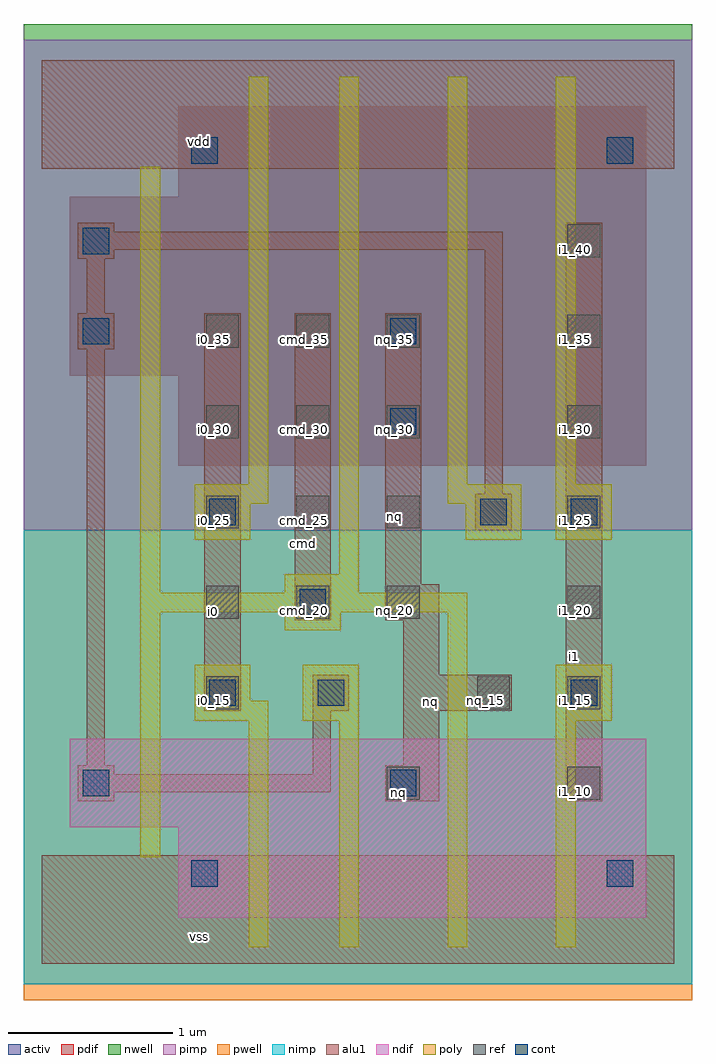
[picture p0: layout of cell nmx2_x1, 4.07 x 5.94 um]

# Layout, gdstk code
import gdstk
lib = gdstk.Library(unit=1e-6, precision=2.5e-09)
def R(c, l, rs):  # rectangles x0, y0, x1, y1
    for r in rs: c.add(gdstk.rectangle(r[:2], r[2:], *l))
def A(c, l, x, y, w, h, nx, ny, dx, dy):  # array of equal rectangles
    R(c, l, [(x+i*dx, y+j*dy, x+i*dx+w, y+j*dy+h) for i in range(nx) for j in range(ny)])
ndif = (3, 0)
pdif = (4, 0)
ref = (24, 0)
cont = (25, 0)
pwell = (41, 0)
nwell = (42, 0)
activ = (43, 0)
pimp = (44, 0)
nimp = (45, 0)
poly = (46, 0)
alu1 = (49, 0)

nmx2_x1 = lib.new_cell('nmx2_x1')
R(nmx2_x1, ndif, [(0.83,0.28,3.68,0.83), (0.83,0.28,3.68,0.83), (0.17,0.83,3.68,1.37), (0.17,0.83,3.68,1.37)])
R(nmx2_x1, pdif, [(0.83,3.03,3.68,3.58), (0.83,3.03,3.68,3.58), (0.17,3.58,3.68,4.67), (0.17,3.58,3.68,4.67), (0.83,4.67,3.68,5.22), (0.83,4.67,3.68,5.22)])
A(nmx2_x1, ref, 3.2, 1, 0.2, 0.2, 1, 7, 0, 0.55)
A(nmx2_x1, ref, 1, 2.1, 0.2, 0.2, 3, 4, 0.55, 0.55)
R(nmx2_x1, ref, [(2.1,1,2.3,1.2), (1,1.55,1.2,1.75), (2.65,1.55,2.85,1.75)])
R(nmx2_x1, cont, [(0.91,0.47,1.07,0.63), (3.44,0.47,3.6,0.63), (0.25,1.02,0.41,1.18), (2.12,1.02,2.28,1.18), (1.02,1.57,1.18,1.73), (1.68,1.57,1.84,1.73), (3.22,1.57,3.38,1.73), (1.57,2.12,1.73,2.28), (1.02,2.67,1.18,2.83), (2.67,2.67,2.83,2.83), (3.22,2.67,3.38,2.83), (2.12,3.22,2.28,3.38), (0.25,3.77,0.41,3.93), (2.12,3.77,2.28,3.93), (0.25,4.32,0.41,4.48), (0.91,4.87,1.07,5.03), (3.44,4.87,3.6,5.03)])
R(nmx2_x1, pwell, [(-0.11,-0.22,3.96,2.64)])
R(nmx2_x1, nwell, [(-0.11,2.64,3.96,5.72)])
R(nmx2_x1, activ, [(0.83,0.28,3.68,0.83), (0.83,0.28,3.68,0.83), (0.17,0.83,3.68,1.37), (0.17,0.83,3.68,1.37), (0.83,3.03,3.68,3.58), (0.83,3.03,3.68,3.58), (0.17,3.58,3.68,4.67), (0.17,3.58,3.68,4.67), (0.83,4.67,3.68,5.22), (0.83,4.67,3.68,5.22)])
R(nmx2_x1, pimp, [(-0.11,2.64,3.96,5.625)])
R(nmx2_x1, nimp, [(-0.11,-0.125,3.96,2.64)])
R(nmx2_x1, poly, [(1.26,0.1,1.38,1.48), (1.81,0.1,1.93,1.48), (2.47,0.1,2.59,2.14), (3.13,0.1,3.25,1.48), (0.6,0.65,0.72,2.14), (0.93,1.48,1.38,1.6), (1.59,1.48,1.93,1.82), (3.13,1.48,3.47,1.82), (0.93,1.6,1.27,1.82), (1.48,2.03,1.82,2.14), (0.6,2.14,2.59,2.26), (0.6,2.26,0.72,4.85), (1.48,2.26,1.93,2.37), (1.81,2.37,1.93,5.4), (0.93,2.58,1.27,2.8), (2.58,2.58,2.92,2.8), (3.13,2.58,3.47,2.92), (0.93,2.8,1.38,2.92), (2.47,2.8,2.92,2.92), (1.26,2.92,1.38,5.4), (2.47,2.92,2.59,5.4), (3.13,2.92,3.25,5.4)])
R(nmx2_x1, alu1, [(0,0,3.85,0.66), (0.22,0.99,0.44,1.045), (2.09,0.99,2.42,1.21), (3.19,0.99,3.41,4.51), (0.22,1.045,1.76,1.155), (0.22,1.155,0.44,1.21), (1.65,1.155,1.76,1.54), (0.275,1.21,0.385,3.74), (2.2,1.21,2.42,1.54), (0.99,1.54,1.21,3.96), (1.65,1.54,1.87,1.76), (2.2,1.54,2.86,1.76), (2.2,1.76,2.42,2.09), (1.54,2.09,1.76,3.96), (2.09,2.09,2.42,2.31), (2.09,2.31,2.31,3.96), (2.64,2.64,2.86,2.86), (2.695,2.86,2.805,4.345), (0.22,3.74,0.44,3.96), (0.275,3.96,0.385,4.29), (0.22,4.29,0.44,4.345), (0.22,4.345,2.805,4.455), (0.22,4.455,0.44,4.51), (0,4.84,3.85,5.5)])
nmx2_x1.add(gdstk.Label('vss', (0.9625,0.165), layer=49, texttype=0))
nmx2_x1.add(gdstk.Label('i1', (3.245,1.87), layer=49, texttype=0))
nmx2_x1.add(gdstk.Label('nq', (2.1725,1.045), layer=49, texttype=0))
nmx2_x1.add(gdstk.Label('nq', (2.365,1.595), layer=49, texttype=0))
nmx2_x1.add(gdstk.Label('nq', (2.145,2.7225), layer=49, texttype=0))
nmx2_x1.add(gdstk.Label('cmd', (1.595,2.5575), layer=49, texttype=0))
nmx2_x1.add(gdstk.Label('i0', (1.045,2.145), layer=49, texttype=0))
nmx2_x1.add(gdstk.Label('vdd', (0.9625,5.005), layer=49, texttype=0))
nmx2_x1.add(gdstk.Label('nq_10', (2.15,1.05), layer=24, texttype=0))
nmx2_x1.add(gdstk.Label('nq_20', (2.15,2.15), layer=24, texttype=0))
nmx2_x1.add(gdstk.Label('nq_15', (2.7,1.6), layer=24, texttype=0))
nmx2_x1.add(gdstk.Label('nq_25', (2.15,2.7), layer=24, texttype=0))
nmx2_x1.add(gdstk.Label('nq_30', (2.15,3.25), layer=24, texttype=0))
nmx2_x1.add(gdstk.Label('nq_35', (2.15,3.8), layer=24, texttype=0))
nmx2_x1.add(gdstk.Label('i1_40', (3.25,4.35), layer=24, texttype=0))
nmx2_x1.add(gdstk.Label('i1_35', (3.25,3.8), layer=24, texttype=0))
nmx2_x1.add(gdstk.Label('i1_30', (3.25,3.25), layer=24, texttype=0))
nmx2_x1.add(gdstk.Label('i1_25', (3.25,2.7), layer=24, texttype=0))
nmx2_x1.add(gdstk.Label('i1_20', (3.25,2.15), layer=24, texttype=0))
nmx2_x1.add(gdstk.Label('i1_15', (3.25,1.6), layer=24, texttype=0))
nmx2_x1.add(gdstk.Label('i1_10', (3.25,1.05), layer=24, texttype=0))
nmx2_x1.add(gdstk.Label('i0_35', (1.05,3.8), layer=24, texttype=0))
nmx2_x1.add(gdstk.Label('i0_30', (1.05,3.25), layer=24, texttype=0))
nmx2_x1.add(gdstk.Label('i0_25', (1.05,2.7), layer=24, texttype=0))
nmx2_x1.add(gdstk.Label('i0_20', (1.05,2.15), layer=24, texttype=0))
nmx2_x1.add(gdstk.Label('i0_15', (1.05,1.6), layer=24, texttype=0))
nmx2_x1.add(gdstk.Label('cmd_35', (1.6,3.8), layer=24, texttype=0))
nmx2_x1.add(gdstk.Label('cmd_30', (1.6,3.25), layer=24, texttype=0))
nmx2_x1.add(gdstk.Label('cmd_25', (1.6,2.7), layer=24, texttype=0))
nmx2_x1.add(gdstk.Label('cmd_20', (1.6,2.15), layer=24, texttype=0))

lib.write_gds('nmx2_x1.gds')
